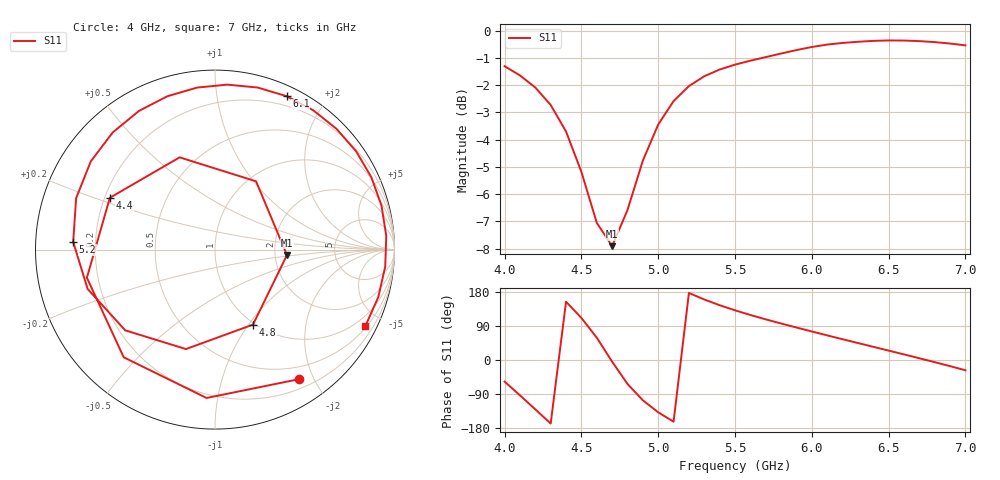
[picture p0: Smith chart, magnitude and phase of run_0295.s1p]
! Touchstone file exported from HFSS 2024.2.0
!  File:  C:/Users/wsak9/Desktop/Sim Fast/Widenad Patch/WP_AI_V1_sweep.aedt
!  Generated:  03:25:13 AM Oct 14, 2026
!  Design:  A1_model
!  Project:  WP_AI_V1_sweep
!  Setup:  Setup1
!  Solution:  Sweep
! Variables:
!  Air_gap = 3.12mm
!  Curve_Amp1 = 1.33
!  Curve_len1 = 1
!  Curve_pos = 12.75mm
!  Extra = 3.53mm
!  H_sub = 0.79mm
!  L_Patch = 21.5mm
!  L_Patch1 = 13.94mm
!  Sx = 1.9mm
!  Sy = 0.83mm
!  WS = 0.53mm
!  W_Patch = 13.94mm
!  W_Patch1 = 10.41mm
!Data is not renormalized
# GHz S MA
! Terminal data exported
! Port[1] = 1
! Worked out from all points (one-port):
!   31 points, 4 GHz to 7 GHz, reference per port
!   lowest |S11| = -7.9 dB at 4.7 GHz (marker M1), VSWR 2.34
!   |S11| at or under -10 dB: nowhere
!   S11 on the Smith chart (normalised r, x): 4 GHz: 0.32, -1.80; 4.4 GHz: 0.22, +0.22; 4.8 GHz: 0.98, -1.05; 5.2 GHz: 0.12, +0.03; 6.1 GHz: 0.10, +1.57; 7 GHz: 0.55, -4.09
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4  0.8608 -57.0
4.1  0.828 -93.2
4.2  0.7865 -130.3
4.3  0.7307 -167.6
4.4  0.653 153.8
4.5  0.5505 111.0
4.6  0.4439 59.0
4.7  0.4021 -4.4
4.8  0.4684 -63.1
4.9  0.5773 -106.3
5  0.6727 -138.0
5.1  0.7426 -162.8
5.2  0.7913 176.9
5.3  0.825 159.7
5.4  0.8488 144.6
5.5  0.8665 131.1
5.6  0.8811 118.8
5.7  0.8946 107.3
5.8  0.9082 96.3
5.9  0.9216 85.7
6  0.9337 75.3
6.1  0.9433 65.0
6.3  0.9545 44.8
6.5  0.9599 24.8
6.7  0.9572 4.6
6.8  0.9532 -5.7
6.9  0.9475 -16.2
7  0.9402 -27.0
